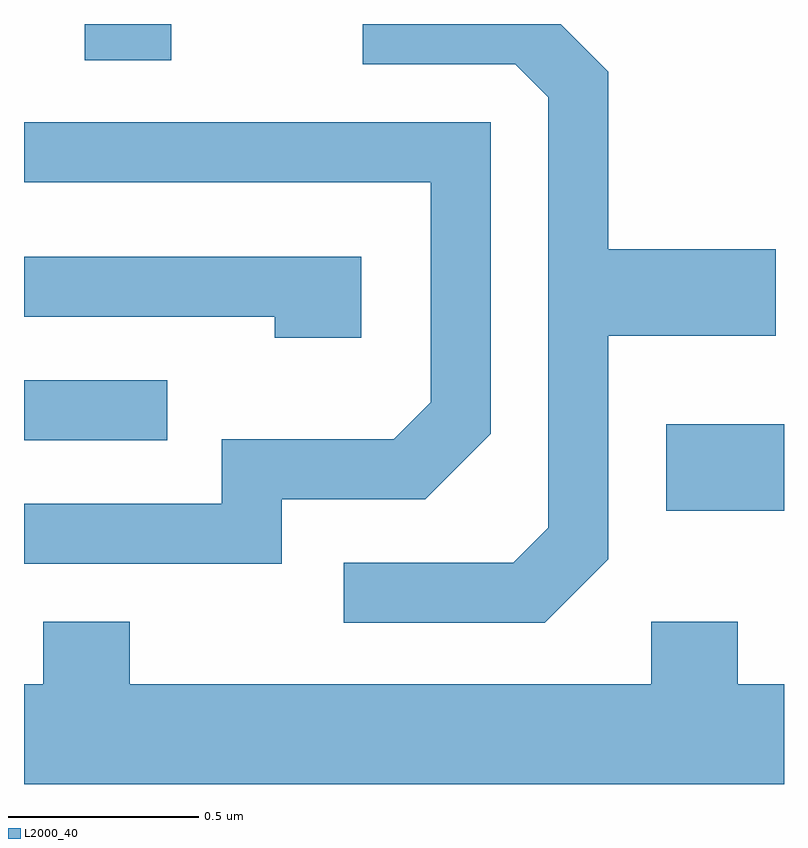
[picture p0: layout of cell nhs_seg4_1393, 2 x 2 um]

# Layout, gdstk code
import gdstk
lib = gdstk.Library(unit=1e-6, precision=1e-09)
def R(c, l, rs):  # rectangles x0, y0, x1, y1
    for r in rs: c.add(gdstk.rectangle(r[:2], r[2:], *l))
def P(c, l, *ps):  # polygons
    for p in ps: c.add(gdstk.Polygon(p, *l))
L2000_40 = (2000, 40)

nhs_seg4_1393 = lib.new_cell('nhs_seg4_1393')
R(nhs_seg4_1393, L2000_40, [(197.301,1277.701,197.611,1277.929), (195.611,1277.886,195.988,1278.044), (195.771,1278.886,195.999,1278.982)])
P(nhs_seg4_1393, L2000_40, [(197.149,1277.574),(197.149,1278.161),(197.589,1278.161),(197.589,1278.389),(197.149,1278.389),(197.149,1278.857),(197.024,1278.982),(196.503,1278.982),(196.503,1278.876),(196.904,1278.876),(196.991,1278.789),(196.991,1277.657),(196.899,1277.564),(196.453,1277.564),(196.453,1277.406),(196.982,1277.406)],
  [(196.289,1277.731),(196.667,1277.731),(196.839,1277.904),(196.839,1278.724),(195.611,1278.724),(195.611,1278.566),(196.681,1278.566),(196.681,1277.987),(196.584,1277.889),(196.131,1277.889),(196.131,1277.719),(195.611,1277.719),(195.611,1277.561),(196.289,1277.561)],
  [(196.499,1278.369),(195.611,1278.369),(195.611,1278.211),(196.271,1278.211),(196.271,1278.156),(196.499,1278.156)],
  [(197.611,1277.244),(197.489,1277.244),(197.489,1277.409),(197.261,1277.409),(197.261,1277.244),(195.889,1277.244),(195.889,1277.409),(195.661,1277.409),(195.661,1277.244),(195.611,1277.244),(195.611,1276.982),(197.611,1276.982)])

lib.write_gds('nhs_seg4_1393.gds')
